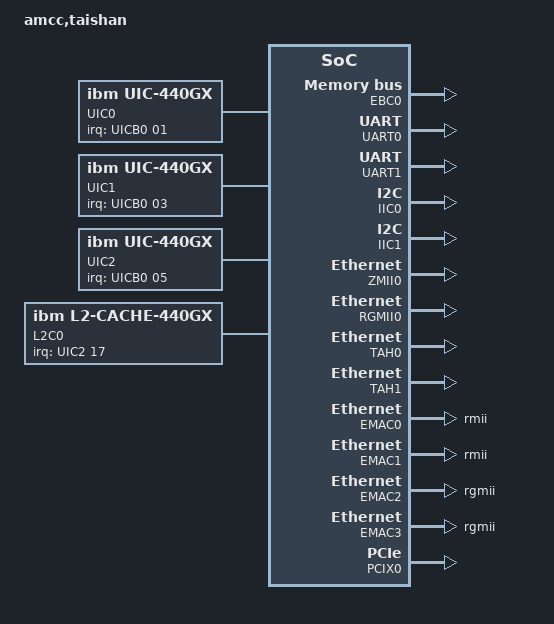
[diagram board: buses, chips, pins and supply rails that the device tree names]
/*
 * Device Tree Source for IBM/AMCC Taishan
 *
 * Copyright 2007 IBM Corp.
 * Hugh Blemings <hugh@au.ibm.com> based off code by
 * Josh Boyer <jwboyer@linux.vnet.ibm.com>, David Gibson <dwg@au1.ibm.com>
 *
 * This file is licensed under the terms of the GNU General Public
 * License version 2.  This program is licensed "as is" without
 * any warranty of any kind, whether express or implied.
 */

/ {
	#address-cells = <2>;
	#size-cells = <1>;
	model = "amcc,taishan";
	compatible = "amcc,taishan";
	dcr-parent = <&/cpus/cpu@0>;

	aliases {
		ethernet0 = &EMAC2;
		ethernet1 = &EMAC3;
		serial0 = &UART0;
		serial1 = &UART1;
	};

	cpus {
		#address-cells = <1>;
		#size-cells = <0>;

		cpu@0 {
			device_type = "cpu";
			model = "PowerPC,440GX";
			reg = <0>;
			clock-frequency = <2FAF0800>; // 800MHz
			timebase-frequency = <0>; // Filled in by zImage
			i-cache-line-size = <32>;
			d-cache-line-size = <32>;
			i-cache-size = <8000>; /* 32 kB */
			d-cache-size = <8000>; /* 32 kB */
			dcr-controller;
			dcr-access-method = "native";
		};
	};

	memory {
		device_type = "memory";
		reg = <0 0 0>; // Filled in by zImage
	};


	UICB0: interrupt-controller-base {
		compatible = "ibm,uic-440gx", "ibm,uic";
		interrupt-controller;
		cell-index = <3>;
		dcr-reg = <200 009>;
		#address-cells = <0>;
		#size-cells = <0>;
		#interrupt-cells = <2>;
	};


	UIC0: interrupt-controller0 {
		compatible = "ibm,uic-440gx", "ibm,uic";
		interrupt-controller;
		cell-index = <0>;
		dcr-reg = <0c0 009>;
		#address-cells = <0>;
		#size-cells = <0>;
		#interrupt-cells = <2>;
		interrupts = <01 4 00 4>; /* cascade - first non-critical */
		interrupt-parent = <&UICB0>;

	};

	UIC1: interrupt-controller1 {
		compatible = "ibm,uic-440gx", "ibm,uic";
		interrupt-controller;
		cell-index = <1>;
		dcr-reg = <0d0 009>;
		#address-cells = <0>;
		#size-cells = <0>;
		#interrupt-cells = <2>;
		interrupts = <03 4 02 4>; /* cascade */
		interrupt-parent = <&UICB0>;
	};

	UIC2: interrupt-controller2 {
		compatible = "ibm,uic-440gx", "ibm,uic";
		interrupt-controller;
		cell-index = <2>; /* was 1 */
		dcr-reg = <210 009>;
		#address-cells = <0>;
		#size-cells = <0>;
		#interrupt-cells = <2>;
		interrupts = <05 4 04 4>; /* cascade */
		interrupt-parent = <&UICB0>;
	};


	CPC0: cpc {
		compatible = "ibm,cpc-440gp";
		dcr-reg = <0b0 003 0e0 010>;
		// FIXME: anything else?
	};

	L2C0: l2c {
		compatible = "ibm,l2-cache-440gx", "ibm,l2-cache";
		dcr-reg = <20 8			/* Internal SRAM DCR's */
			   30 8>;		/* L2 cache DCR's */
		cache-line-size = <20>;		/* 32 bytes */
		cache-size = <40000>;		/* L2, 256K */
		interrupt-parent = <&UIC2>;
		interrupts = <17 1>;
	};

	plb {
		compatible = "ibm,plb-440gx", "ibm,plb4";
		#address-cells = <2>;
		#size-cells = <1>;
		ranges;
		clock-frequency = <9896800>; // 160MHz

		SDRAM0: memory-controller {
			compatible = "ibm,sdram-440gp";
			dcr-reg = <010 2>;
			// FIXME: anything else?
		};

		SRAM0: sram {
			compatible = "ibm,sram-440gp";
			dcr-reg = <020 8 00a 1>;
		};

		DMA0: dma {
			// FIXME: ???
			compatible = "ibm,dma-440gp";
			dcr-reg = <100 027>;
		};

		MAL0: mcmal {
			compatible = "ibm,mcmal-440gx", "ibm,mcmal2";
			dcr-reg = <180 62>;
			num-tx-chans = <4>;
			num-rx-chans = <4>;
			interrupt-parent = <&MAL0>;
			interrupts = <0 1 2 3 4>;
			#interrupt-cells = <1>;
			#address-cells = <0>;
			#size-cells = <0>;
			interrupt-map = </*TXEOB*/ 0 &UIC0 a 4
					 /*RXEOB*/ 1 &UIC0 b 4
					 /*SERR*/  2 &UIC1 0 4
					 /*TXDE*/  3 &UIC1 1 4
					 /*RXDE*/  4 &UIC1 2 4>;
			interrupt-map-mask = <ffffffff>;
		};

		POB0: opb {
			compatible = "ibm,opb-440gx", "ibm,opb";
			#address-cells = <1>;
			#size-cells = <1>;
			/* Wish there was a nicer way of specifying a full 32-bit
			   range */
			ranges = <00000000 1 00000000 80000000
				  80000000 1 80000000 80000000>;
			dcr-reg = <090 00b>;
			interrupt-parent = <&UIC1>;
			interrupts = <7 4>;
			clock-frequency = <4C4B400>; // 80MHz


			EBC0: ebc {
				compatible = "ibm,ebc-440gx", "ibm,ebc";
				dcr-reg = <012 2>;
				#address-cells = <2>;
				#size-cells = <1>;
				clock-frequency = <4C4B400>; // 80MHz

				/* ranges property is supplied by zImage
				 * based on firmware's configuration of the
				 * EBC bridge */

				interrupts = <5 4>;
				interrupt-parent = <&UIC1>;

				/* TODO: Add other EBC devices */
			};



			UART0: serial@40000200 {
				device_type = "serial";
				compatible = "ns16550";
				reg = <40000200 8>;
				virtual-reg = <e0000200>;
 				clock-frequency = <A8C000>;
				current-speed = <1C200>; /* 115200 */
				interrupt-parent = <&UIC0>;
				interrupts = <0 4>;
			};

			UART1: serial@40000300 {
				device_type = "serial";
				compatible = "ns16550";
				reg = <40000300 8>;
				virtual-reg = <e0000300>;
				clock-frequency = <A8C000>;
				current-speed = <1C200>; /* 115200 */
				interrupt-parent = <&UIC0>;
				interrupts = <1 4>;
			};

			IIC0: i2c@40000400 {
				/* FIXME */
				compatible = "ibm,iic-440gp", "ibm,iic";
				reg = <40000400 14>;
				interrupt-parent = <&UIC0>;
				interrupts = <2 4>;
			};
			IIC1: i2c@40000500 {
				/* FIXME */
				compatible = "ibm,iic-440gp", "ibm,iic";
				reg = <40000500 14>;
				interrupt-parent = <&UIC0>;
				interrupts = <3 4>;
			};

			GPIO0: gpio@40000700 {
				/* FIXME */
				compatible = "ibm,gpio-440gp";
				reg = <40000700 20>;
			};

			ZMII0: emac-zmii@40000780 {
				compatible = "ibm,zmii-440gx", "ibm,zmii";
				reg = <40000780 c>;
			};

			RGMII0: emac-rgmii@40000790 {
				compatible = "ibm,rgmii";
				reg = <40000790 8>;
			};

			TAH0: emac-tah@40000b50 {
				compatible = "ibm,tah-440gx", "ibm,tah";
				reg = <40000b50 30>;
			};

			TAH1: emac-tah@40000d50 {
				compatible = "ibm,tah-440gx", "ibm,tah";
				reg = <40000d50 30>;
			};

			EMAC0: ethernet@40000800 {
				unused = <1>;
				device_type = "network";
				compatible = "ibm,emac-440gx", "ibm,emac4";
				interrupt-parent = <&UIC1>;
				interrupts = <1c 4 1d 4>;
				reg = <40000800 70>;
				local-mac-address = [000000000000]; // Filled in by zImage
				mal-device = <&MAL0>;
				mal-tx-channel = <0>;
				mal-rx-channel = <0>;
				cell-index = <0>;
				max-frame-size = <5dc>;
				rx-fifo-size = <1000>;
				tx-fifo-size = <800>;
				phy-mode = "rmii";
				phy-map = <00000001>;
				zmii-device = <&ZMII0>;
				zmii-channel = <0>;
			};
		 	EMAC1: ethernet@40000900 {
				unused = <1>;
				device_type = "network";
				compatible = "ibm,emac-440gx", "ibm,emac4";
				interrupt-parent = <&UIC1>;
				interrupts = <1e 4 1f 4>;
				reg = <40000900 70>;
				local-mac-address = [000000000000]; // Filled in by zImage
				mal-device = <&MAL0>;
				mal-tx-channel = <1>;
				mal-rx-channel = <1>;
				cell-index = <1>;
				max-frame-size = <5dc>;
				rx-fifo-size = <1000>;
				tx-fifo-size = <800>;
				phy-mode = "rmii";
				phy-map = <00000001>;
 				zmii-device = <&ZMII0>;
				zmii-channel = <1>;
			};

		 	EMAC2: ethernet@40000c00 {
				device_type = "network";
				compatible = "ibm,emac-440gx", "ibm,emac4";
				interrupt-parent = <&UIC2>;
				interrupts = <0 4 1 4>;
				reg = <40000c00 70>;
				local-mac-address = [000000000000]; // Filled in by zImage
				mal-device = <&MAL0>;
				mal-tx-channel = <2>;
				mal-rx-channel = <2>;
				cell-index = <2>;
				max-frame-size = <2328>;
				rx-fifo-size = <1000>;
				tx-fifo-size = <800>;
				phy-mode = "rgmii";
				phy-map = <00000001>;
				rgmii-device = <&RGMII0>;
				rgmii-channel = <0>;
 				zmii-device = <&ZMII0>;
				zmii-channel = <2>;
				tah-device = <&TAH0>;
				tah-channel = <0>;
			};

		 	EMAC3: ethernet@40000e00 {
				device_type = "network";
				compatible = "ibm,emac-440gx", "ibm,emac4";
				interrupt-parent = <&UIC2>;
				interrupts = <2 4 3 4>;
				reg = <40000e00 70>;
				local-mac-address = [000000000000]; // Filled in by zImage
				mal-device = <&MAL0>;
				mal-tx-channel = <3>;
				mal-rx-channel = <3>;
				cell-index = <3>;
				max-frame-size = <2328>;
				rx-fifo-size = <1000>;
				tx-fifo-size = <800>;
				phy-mode = "rgmii";
				phy-map = <00000003>;
				rgmii-device = <&RGMII0>;
				rgmii-channel = <1>;
 				zmii-device = <&ZMII0>;
				zmii-channel = <3>;
				tah-device = <&TAH1>;
				tah-channel = <0>;
			};


			GPT0: gpt@40000a00 {
				/* FIXME */
				reg = <40000a00 d4>;
				interrupt-parent = <&UIC0>;
				interrupts = <12 4 13 4 14 4 15 4 16 4>;
			};

		};

		PCIX0: pci@20ec00000 {
			device_type = "pci";
			#interrupt-cells = <1>;
			#size-cells = <2>;
			#address-cells = <3>;
			compatible = "ibm,plb440gp-pcix", "ibm,plb-pcix";
			primary;
			large-inbound-windows;
			enable-msi-hole;
			reg = <2 0ec00000   8	/* Config space access */
			       0 0 0		/* no IACK cycles */
			       2 0ed00000   4   /* Special cycles */
			       2 0ec80000 100	/* Internal registers */
			       2 0ec80100  fc>;	/* Internal messaging registers */

			/* Outbound ranges, one memory and one IO,
			 * later cannot be changed
			 */
			ranges = <02000000 0 80000000 00000003 80000000 0 80000000
				  01000000 0 00000000 00000002 08000000 0 00010000>;

			/* Inbound 2GB range starting at 0 */
			dma-ranges = <42000000 0 0 0 0 0 80000000>;

			interrupt-map-mask = <f800 0 0 7>;
			interrupt-map = <
				/* IDSEL 1 */
				0800 0 0 1 &UIC0 17 8
				0800 0 0 2 &UIC0 18 8
				0800 0 0 3 &UIC0 19 8
				0800 0 0 4 &UIC0 1a 8

				/* IDSEL 2 */
				1000 0 0 1 &UIC0 18 8
				1000 0 0 2 &UIC0 19 8
				1000 0 0 3 &UIC0 1a 8
				1000 0 0 4 &UIC0 17 8
			>;
		};
	};

	chosen {
		linux,stdout-path = "/plb/opb/serial@40000300";
	};
};
